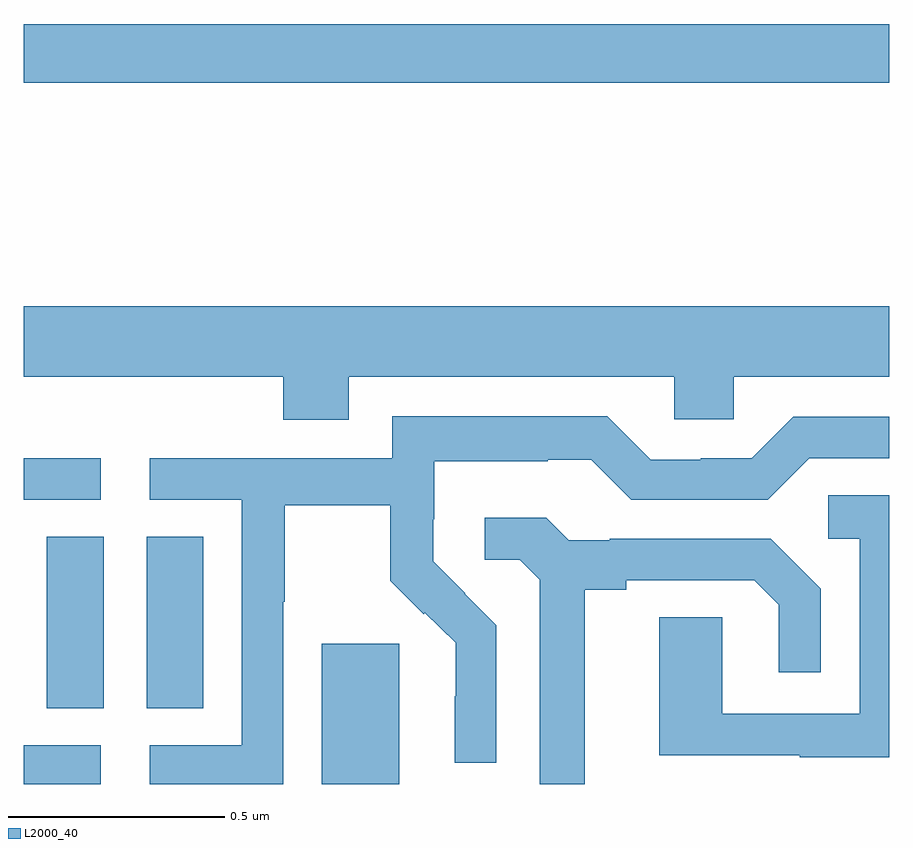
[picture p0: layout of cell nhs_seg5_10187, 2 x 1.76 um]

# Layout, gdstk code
import gdstk
lib = gdstk.Library(unit=1e-6, precision=1e-09)
def R(c, l, rs):  # rectangles x0, y0, x1, y1
    for r in rs: c.add(gdstk.rectangle(r[:2], r[2:], *l))
def P(c, l, *ps):  # polygons
    for p in ps: c.add(gdstk.Polygon(p, *l))
L2000_40 = (2000, 40)

nhs_seg5_10187 = lib.new_cell('nhs_seg5_10187')
R(nhs_seg5_10187, L2000_40, [(243,875.799,243.178,875.889), (243.689,875.799,243.868,876.123), (243.053,875.974,243.184,876.371), (243.284,875.974,243.415,876.371), (243,876.456,243.178,876.552), (243,877.42,245,877.556)])
P(nhs_seg5_10187, L2000_40, [(243.751,876.74),(244.503,876.74),(244.503,876.642),(244.641,876.642),(244.641,876.74),(245,876.74),(245,876.904),(243,876.904),(243,876.74),(243.599,876.74),(243.599,876.641),(243.751,876.641)],
  [(243.6,876.22),(243.603,876.22),(243.603,876.444),(243.847,876.444),(243.847,876.269),(243.924,876.192),(243.927,876.195),(243.998,876.125),(243.998,876.002),(243.996,876.002),(243.996,875.848),(244.092,875.848),(244.092,876.166),(244.019,876.239),(244.02,876.24),(243.946,876.314),(243.946,876.411),(243.948,876.411),(243.948,876.545),(244.211,876.545),(244.211,876.549),(244.311,876.549),(244.404,876.456),(244.719,876.456),(244.815,876.552),(245,876.552),(245,876.648),(244.779,876.648),(244.683,876.552),(244.565,876.552),(244.565,876.549),(244.449,876.549),(244.349,876.649),(243.852,876.649),(243.852,876.552),(243.291,876.552),(243.291,876.456),(243.504,876.456),(243.504,875.889),(243.291,875.889),(243.291,875.799),(243.6,875.799)],
  [(245,876.467),(244.86,876.467),(244.86,876.366),(244.932,876.366),(244.932,875.961),(244.614,875.961),(244.614,876.185),(244.469,876.185),(244.469,875.865),(244.793,875.865),(244.793,875.861),(245,875.861)],
  [(244.297,876.248),(244.393,876.248),(244.393,876.27),(244.688,876.27),(244.745,876.213),(244.745,876.057),(244.842,876.057),(244.842,876.25),(244.726,876.366),(244.354,876.366),(244.354,876.363),(244.26,876.363),(244.208,876.415),(244.065,876.415),(244.065,876.318),(244.146,876.318),(244.193,876.271),(244.193,875.799),(244.297,875.799)])

lib.write_gds('nhs_seg5_10187.gds')
